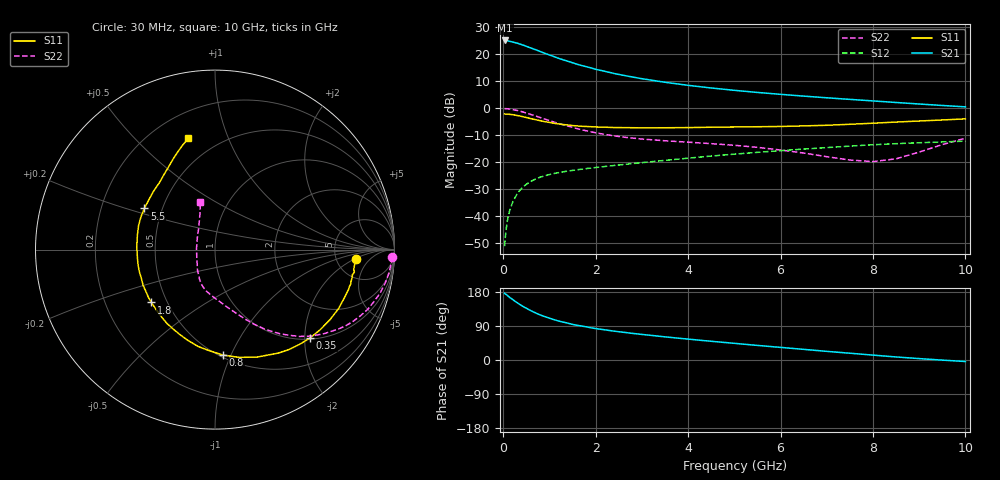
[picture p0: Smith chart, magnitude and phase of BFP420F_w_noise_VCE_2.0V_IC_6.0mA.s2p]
! Infineon Technologies  Discrete & RF Semiconductors
! BFP420F
! VCE =  2.0 V,  IC =  6.0 mA
! Common Emitter S-Parameters:  Sep 2011
# GHz  S  MA  R  50
!  f  S11  S21  S12  S22
! GHz  MAG  ANG  MAG  ANG  MAG  ANG  MAG  ANG
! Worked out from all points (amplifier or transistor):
!   54 points, 30 MHz to 10 GHz, reference 50 ohm
!   highest |S21| = 25.1 dB at 40 MHz (marker M1)
!   |S21| within 3 dB of that: start of sweep to 631.4 MHz
!   unconditionally stable (mu >= 1): 2.393 GHz to end of sweep
!   at 120 MHz: K = 0.08, MSG = 32.1 dB, |S12| = -39.2 dB
!   at 1.3 GHz: K = 0.60, MSG = 20.7 dB, |S12| = -23.5 dB
!   at 10 GHz: K = 1.34, MAG = 2.9 dB, |S12| = -12.2 dB
!   lowest NFmin = 1.00 dB at 450 MHz
!   S11 on the Smith chart (normalised r, x): 30 MHz: 7.84, -2.23; 350 MHz: 1.03, -2.12; 800 MHz: 0.52, -0.94; 1.8 GHz: 0.41, -0.31; 5.5 GHz: 0.40, +0.23; 10 GHz: 0.35, +0.73
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0.03  0.7891 -3.9  18.03 176.2  0.0028 89.5  0.9866 -2.3
0.04  0.7864 -5.2  18.05 175.2  0.0036 86.6  0.9859 -3.0
0.05  0.7822 -6.2  17.89 173.8  0.0045 88.6  0.9854 -3.8
0.1  0.7781 -13.1  17.82 169.1  0.0091 84.4  0.9778 -7.5
0.15  0.7714 -19.3  17.34 164.3  0.0135 80.9  0.9661 -11.2
0.25  0.7504 -31.3  16.48 155.5  0.0217 75.7  0.9319 -18.1
0.35  0.723 -43.0  15.61 147.4  0.0296 70.4  0.8906 -24.4
0.45  0.6924 -53.6  14.62 139.9  0.0363 66.0  0.8439 -30.1
0.6  0.6436 -68.4  13.07 130.0  0.0444 60.1  0.7676 -37.6
0.8  0.5898 -85.5  11.28 118.9  0.053 54.5  0.6748 -45.8
1  0.5477 -99.9  9.725 110.3  0.0594 50.8  0.5928 -52.3
1.2  0.5122 -112.5  8.42 102.8  0.0645 48.0  0.5242 -57.9
1.5  0.4794 -128.1  6.974 93.9  0.0709 45.6  0.4434 -64.5
1.7  0.4646 -136.5  6.2 89.5  0.0746 44.7  0.4004 -68.6
1.8  0.4612 -140.3  5.894 87.4  0.0766 44.5  0.3832 -70.6
2.4  0.4402 -159.0  4.411 76.1  0.0874 43.3  0.3093 -81.2
3.5  0.4362 178.3  3.035 61.1  0.1087 42.6  0.2506 -96.3
4.5  0.4466 162.4  2.379 49.4  0.1305 40.7  0.2216 -106.7
5.5  0.4557 149.8  1.968 38.5  0.153 37.5  0.1894 -116.7
7  0.4853 129.5  1.566 22.8  0.1872 31.2  0.1271 -141.4
8.5  0.5567 114.7  1.282 8.0  0.2214 22.8  0.116 148.7
10  0.6374 103.5  1.064 -4.0  0.2467 14.6  0.2799 106.9
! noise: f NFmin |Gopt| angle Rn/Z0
0.45  1  0.17  17  0.17
0.9  1.02  0.18  42  0.16
1.9  1.19  0.16  110  0.13
2.4  1.27  0.18  119  0.15
3.5  1.56  0.23  155  0.19
